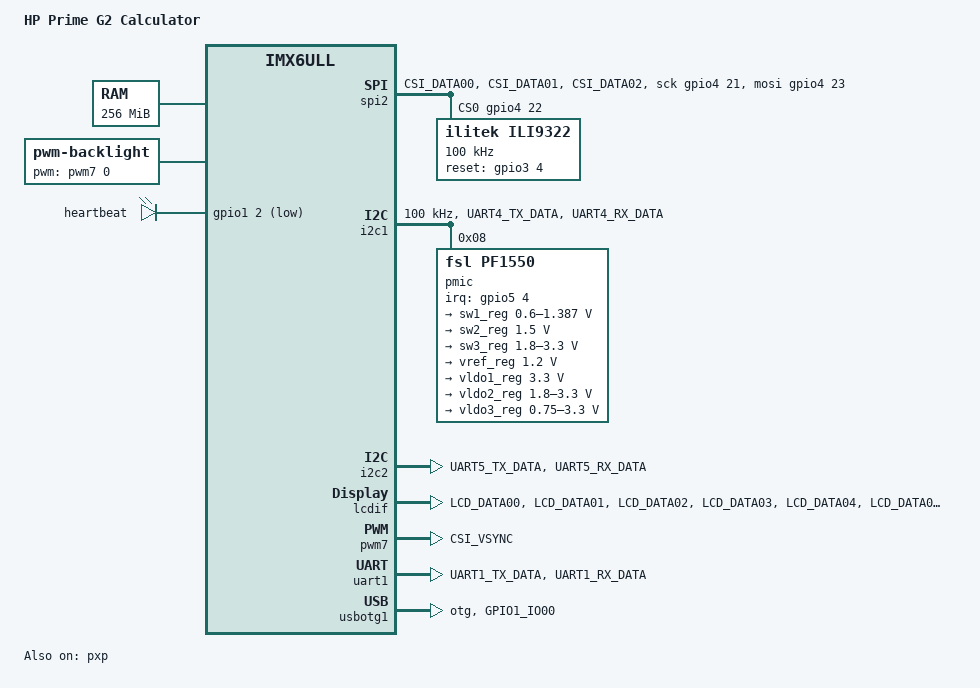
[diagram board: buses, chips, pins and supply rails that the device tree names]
/*
 * Copyright (C) 2016 Freescale Semiconductor, Inc.
 *
 * This program is free software; you can redistribute it and/or modify
 * it under the terms of the GNU General Public License version 2 as
 * published by the Free Software Foundation.
 */

/dts-v1/;

#include <dt-bindings/input/input.h>
#include "imx6ull.dtsi"

/ {
	model = "HP Prime G2 Calculator";
	compatible = "fsl,imx6ull-14x14-prime", "fsl,imx6ull";

	chosen {
		stdout-path = &uart1;
	};

	memory {
		reg = <0x80000000 0x10000000>;
	};

	reserved-memory {
		#address-cells = <1>;
		#size-cells = <1>;
		ranges;

		linux,cma {
			compatible = "shared-dma-pool";
			reusable;
			size = <0x14000000>;
			linux,cma-default;
		};
	};

	backlight {
		compatible = "pwm-backlight";
		pwms = <&pwm7 0 5000000>;
		brightness-levels = <0 4 8 16 32 64 128 255>;
		default-brightness-level = <6>;
		status = "okay";
	};

	pxp_v4l2 {
		compatible = "fsl,imx6ul-pxp-v4l2", "fsl,imx6sx-pxp-v4l2", "fsl,imx6sl-pxp-v4l2";
		status = "okay";
	};

	regulators {
		compatible = "simple-bus";
		#address-cells = <1>;
		#size-cells = <0>;
	};

	leds {
		compatible = "gpio-leds";
		pinctrl-names = "default";
		pinctrl-0 = <&pinctrl_leds>;

		heartbeat {
			label = "heartbeat";
			gpios = <&gpio1 2 GPIO_ACTIVE_LOW>;
			linux,default-trigger = "heartbeat";
		};
	};

	spi2 {
		compatible = "spi-gpio";
		pinctrl-names = "default";
		pinctrl-0 = <&pinctrl_spi2>;
		status = "okay";
		gpio-sck = <&gpio4 21 0>;
		gpio-mosi = <&gpio4 23 0>;
		cs-gpios = <&gpio4 22 0>;
		num-chipselects = <1>;
		#address-cells = <1>;
		#size-cells = <0>;

		ili9322: ili9322@0 {
			compatible = "ilitek,ili9322";
			reg = <0>;
			spi-max-frequency = <100000>;
			spi-cpol;
			spi-cpha;
			gpios-reset = <&gpio3 4 0>;
		};
	};
};

&cpu0 {
	operating-points = <
		/* kHz	uV */
		900000	1275000
		792000	1225000
		696000  1225000
		528000	1175000
		396000	1175000
		198000	1175000
	>;
	fsl,soc-operating-points = <
		/* KHz	uV */
		900000	1275000
		792000	1225000
		696000  1225000
		528000	1175000
		396000	1175000
		198000	1175000
	>;
	fsl,arm-soc-shared = <1>;
};

&reg_arm {
	vin-supply = <&sw1_reg>;
	regulator-allow-bypass;
};

&reg_soc {
	vin-supply = <&sw1_reg>;
	regulator-allow-bypass;
};

&gpc {
	fsl,cpu_pupscr_sw2iso = <0xf>;
	fsl,cpu_pupscr_sw = <0x0>;
	fsl,cpu_pdnscr_iso2sw = <0x1>;
	fsl,cpu_pdnscr_iso = <0x1>;
	fsl,ldo-bypass = <1>; /* use ldo-bypass */
};

&i2c1 {
	clock-frequency = <100000>;
	pinctrl-names = "default";
	pinctrl-0 = <&pinctrl_i2c1>;
	status = "okay";
	pmic: pf1550@08 {
		compatible = "fsl,pf1550";
		interrupt-parent = <&gpio5>;
		interrupts = <4 8>;
		reg = <0x08>;

		onkey {
			compatible = "fsl,pf1550-onkey";
			linux,keycode = <KEY_POWER>;
			wakeup;
		};

		charger {
			compatible = "fsl,pf1550-charger";
		};

		regulators {
			compatible = "fsl,pf1550-regulator";

			sw1_reg: SW1 {
				regulator-name = "SW1";
				regulator-min-microvolt = <600000>;
				regulator-max-microvolt = <1387500>;
				regulator-boot-on;
				regulator-always-on;
				regulator-ramp-delay = <6250>;
			};

			sw2_reg: SW2 {
				regulator-name = "SW2";
				regulator-min-microvolt = <1500000>;
				regulator-max-microvolt = <1500000>;
				regulator-boot-on;
				regulator-always-on;
			};

			sw3_reg: SW3 {
				regulator-name = "SW3";
				regulator-min-microvolt = <1800000>;
				regulator-max-microvolt = <3300000>;
				regulator-boot-on;
				regulator-always-on;
			};

			vref_reg: VREFDDR {
				regulator-name = "VREFDDR";
				regulator-min-microvolt = <1200000>;
				regulator-max-microvolt = <1200000>;
				regulator-boot-on;
				regulator-always-on;
			};

			vldo1_reg: LDO1 {
				regulator-name = "LDO1";
				regulator-min-microvolt = <3300000>;
				regulator-max-microvolt = <3300000>;
				regulator-boot-on;
				regulator-always-on;
			};

			vldo2_reg: LDO2 {
				regulator-name = "LDO2";
				regulator-min-microvolt = <1800000>;
				regulator-max-microvolt = <3300000>;
				regulator-boot-on;
				regulator-always-on;
			};

			vldo3_reg: LDO3 {
				regulator-name = "LDO3";
				regulator-min-microvolt = <750000>;
				regulator-max-microvolt = <3300000>;
				regulator-boot-on;
				regulator-always-on;
			};
		};
	};
};

&i2c2 {
	clock_frequency = <100000>;
	pinctrl-names = "default";
	pinctrl-0 = <&pinctrl_i2c2>;
	status = "okay";
};

&iomuxc {
	pinctrl-names = "default";
	pinctrl-0 = <&pinctrl_hog_1>;
	pinctrl_hog_1: hoggrp-1 {
		fsl,pins = <
			MX6UL_PAD_LCD_RESET__GPIO3_IO04 0x17059
		>;
	};

	pinctrl_leds: ledsgrp {
		fsl,pins = <
			MX6UL_PAD_GPIO1_IO02__GPIO1_IO02 0x17059
		>;
	};

	pinctrl_i2c1: i2c1grp {
		fsl,pins = <
			MX6UL_PAD_UART4_TX_DATA__I2C1_SCL 0x4001b8b0
			MX6UL_PAD_UART4_RX_DATA__I2C1_SDA 0x4001b8b0
		>;
	};

	pinctrl_i2c2: i2c2grp {
		fsl,pins = <
			MX6UL_PAD_UART5_TX_DATA__I2C2_SCL 0x4001b8b0
			MX6UL_PAD_UART5_RX_DATA__I2C2_SDA 0x4001b8b0
		>;
	};

	pinctrl_lcdif_dat: lcdifdatgrp {
		fsl,pins = <
			MX6UL_PAD_LCD_DATA00__LCDIF_DATA00  0x79
			MX6UL_PAD_LCD_DATA01__LCDIF_DATA01  0x79
			MX6UL_PAD_LCD_DATA02__LCDIF_DATA02  0x79
			MX6UL_PAD_LCD_DATA03__LCDIF_DATA03  0x79
			MX6UL_PAD_LCD_DATA04__LCDIF_DATA04  0x79
			MX6UL_PAD_LCD_DATA05__LCDIF_DATA05  0x79
			MX6UL_PAD_LCD_DATA06__LCDIF_DATA06  0x79
			MX6UL_PAD_LCD_DATA07__LCDIF_DATA07  0x79
		>;
	};

	pinctrl_lcdif_ctrl: lcdifctrlgrp {
		fsl,pins = <
			MX6UL_PAD_LCD_CLK__LCDIF_CLK	    0x79
			MX6UL_PAD_LCD_ENABLE__LCDIF_ENABLE  0x79
			MX6UL_PAD_LCD_HSYNC__LCDIF_HSYNC    0x79
			MX6UL_PAD_LCD_VSYNC__LCDIF_VSYNC    0x79
		>;
	};

	pinctrl_pf1550: pf1550 {
		fsl,pins = <
			 MX6UL_PAD_SNVS_TAMPER4__GPIO5_IO04      0x80000000
		>;
	};

	pinctrl_pwm7: pwm7grp {
		fsl,pins = <
			MX6UL_PAD_CSI_VSYNC__PWM7_OUT   0x110b0
		>;
	};

	pinctrl_uart1: uart1grp {
		fsl,pins = <
			MX6UL_PAD_UART1_TX_DATA__UART1_DCE_TX 0x1b0b1
			MX6UL_PAD_UART1_RX_DATA__UART1_DCE_RX 0x1b0b1
		>;
	};

	pinctrl_spi2: spi2grp {
		fsl,pins = <
			MX6UL_PAD_CSI_DATA00__GPIO4_IO21	0x70a1
			MX6UL_PAD_CSI_DATA01__GPIO4_IO22	0x70a1
			MX6UL_PAD_CSI_DATA02__GPIO4_IO23	0x70a1
		>;
	};

	pinctrl_usb_otg1_id: usbotg1idgrp {
		fsl,pins = <
			MX6UL_PAD_GPIO1_IO00__ANATOP_OTG1_ID	0x17059
		>;
	};
};

&lcdif {
	pinctrl-names = "default";
	pinctrl-0 = <&pinctrl_lcdif_dat
		     &pinctrl_lcdif_ctrl>;
	lcd-supply = <&vldo1_reg>;
	display = <&display0>;
	status = "okay";

	display0: display@0 {
		bits-per-pixel = <24>;
		bus-width = <8>;

		display-timings {
			native-mode = <&timing0>;
			timing0: timing0 {
				clock-frequency = <18000000>;
				hactive = <320>;
				vactive = <240>;
				hfront-porch = <100>;
				hback-porch = <71>;
				hsync-len = <1>;
				vback-porch = <18>;
				vfront-porch = <6>;
				vsync-len = <1>;

				hsync-active = <0>;
				vsync-active = <0>;
				de-active = <1>;
				pixelclk-active = <0>;
			};
		};
	};
};

&pwm7 {
	pinctrl-names = "default";
	pinctrl-0 = <&pinctrl_pwm7>;
	status = "okay";
};

&pxp {
	status = "okay";
};

&uart1 {
	pinctrl-names = "default";
	pinctrl-0 = <&pinctrl_uart1>;
	status = "okay";
};

&usbotg1 {
	pinctrl-names = "default";
	pinctrl-0 = <&pinctrl_usb_otg1_id>;
	dr_mode = "otg";
	srp-disable;
	hnp-disable;
	adp-disable;
	status = "okay";
};

&usbphy1 {
	fsl,tx-d-cal = <106>;
};
